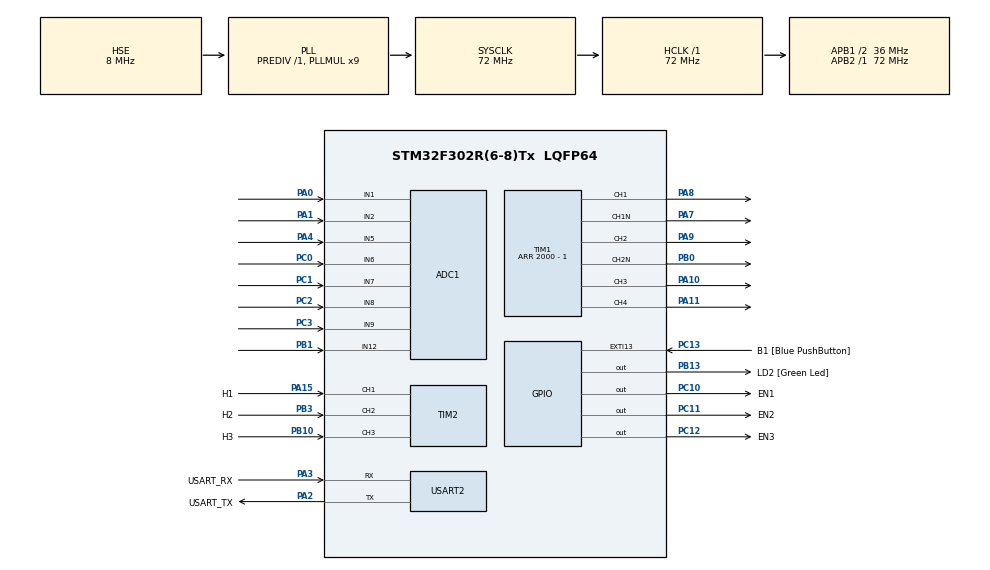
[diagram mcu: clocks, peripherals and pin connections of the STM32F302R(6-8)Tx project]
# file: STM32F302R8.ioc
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ADC1.Channel-0\#ChannelRegularConversion=ADC_CHANNEL_2
ADC1.Channel-4\#ChannelRegularConversion=ADC_CHANNEL_12
ADC1.ContinuousConvMode=ENABLE
ADC1.DMAContinuousRequests=ENABLE
ADC1.ExternalTrigInjecConv=ADC_EXTERNALTRIGINJECCONV_T1_TRGO
ADC1.InjNumberOfConversion=3
ADC1.InjectedChannel-1\#ChannelInjectedConversion=ADC_CHANNEL_1
ADC1.InjectedChannel-2\#ChannelInjectedConversion=ADC_CHANNEL_7
ADC1.InjectedChannel-3\#ChannelInjectedConversion=ADC_CHANNEL_6
ADC1.InjectedOffset-1\#ChannelInjectedConversion=0
ADC1.InjectedOffset-2\#ChannelInjectedConversion=0
ADC1.InjectedOffset-3\#ChannelInjectedConversion=0
ADC1.InjectedOffsetNumber-1\#ChannelInjectedConversion=ADC_OFFSET_NONE
ADC1.InjectedOffsetNumber-2\#ChannelInjectedConversion=ADC_OFFSET_NONE
ADC1.InjectedOffsetNumber-3\#ChannelInjectedConversion=ADC_OFFSET_NONE
ADC1.InjectedRank-1\#ChannelInjectedConversion=1
ADC1.InjectedRank-2\#ChannelInjectedConversion=2
ADC1.InjectedRank-3\#ChannelInjectedConversion=3
ADC1.InjectedSamplingTime-1\#ChannelInjectedConversion=ADC_SAMPLETIME_1CYCLE_5
ADC1.InjectedSamplingTime-2\#ChannelInjectedConversion=ADC_SAMPLETIME_1CYCLE_5
ADC1.InjectedSamplingTime-3\#ChannelInjectedConversion=ADC_SAMPLETIME_1CYCLE_5
ADC1.InjectedSamplingTimeOPAMP-1\#ChannelInjectedConversion=ADC_SAMPLETIME_61CYCLES_5
ADC1.InjectedSamplingTimeOPAMP-2\#ChannelInjectedConversion=ADC_SAMPLETIME_61CYCLES_5
ADC1.InjectedSamplingTimeOPAMP-3\#ChannelInjectedConversion=ADC_SAMPLETIME_61CYCLES_5
ADC1.NbrOfConversion=2
ADC1.NbrOfConversionFlag=1
ADC1.Offset-0\#ChannelRegularConversion=0
ADC1.Offset-4\#ChannelRegularConversion=0
ADC1.OffsetNumber-0\#ChannelRegularConversion=ADC_OFFSET_NONE
ADC1.OffsetNumber-4\#ChannelRegularConversion=ADC_OFFSET_NONE
ADC1.Rank-0\#ChannelRegularConversion=1
ADC1.Rank-4\#ChannelRegularConversion=2
ADC1.Rank2_Channel=ADC_CHANNEL_7
ADC1.Rank3_Channel=ADC_CHANNEL_6
ADC1.SamplingTime-0\#ChannelRegularConversion=ADC_SAMPLETIME_1CYCLE_5
ADC1.SamplingTime-4\#ChannelRegularConversion=ADC_SAMPLETIME_1CYCLE_5
ADC1.SubFamily=STM32F302x8
ADC1.master=1
Dma.ADC1.0.Direction=DMA_PERIPH_TO_MEMORY
Dma.ADC1.0.Instance=DMA1_Channel1
Dma.ADC1.0.MemDataAlignment=DMA_MDATAALIGN_HALFWORD
Dma.ADC1.0.MemInc=DMA_MINC_ENABLE
Dma.ADC1.0.Mode=DMA_CIRCULAR
Dma.ADC1.0.PeriphDataAlignment=DMA_PDATAALIGN_HALFWORD
Dma.ADC1.0.PeriphInc=DMA_PINC_DISABLE
Dma.ADC1.0.Priority=DMA_PRIORITY_LOW
Dma.Request0=ADC1
Mcu.Family=STM32F3
Mcu.Name=STM32F302R(6-8)Tx
Mcu.Package=LQFP64
NVIC.ADC1_IRQn=true\:0\:0\:false\:false\:true\:true\:true\:true
NVIC.DMA1_Channel1_IRQn=true\:0\:1\:false\:false\:true\:false\:true\:true
NVIC.PriorityGroup=NVIC_PRIORITYGROUP_0
NVIC.TIM6_DAC_IRQn=true\:0\:1\:false\:false\:true\:true\:true\:true
PA0.Mode=IN1-Single-Ended
PA0.Signal=ADC1_IN1
PA1.Mode=IN2-Single-Ended
PA1.Signal=ADC1_IN2
PA10.Signal=S_TIM1_CH3
PA11.Signal=S_TIM1_CH4
PA13.GPIO_Label=TMS
PA13.Mode=Serial_Wire
PA13.Signal=SYS_JTMS-SWDIO
PA14.GPIO_Label=TCK
PA14.Mode=Serial_Wire
PA14.Signal=SYS_JTCK-SWCLK
PA15.GPIO_Label=H1
PA15.Signal=S_TIM2_CH1_ETR
PA2.GPIO_Label=USART_TX
PA2.GPIO_Mode=GPIO_MODE_AF_PP
PA2.GPIO_PuPd=GPIO_NOPULL
PA2.GPIO_Speed=GPIO_SPEED_FREQ_LOW
PA2.Mode=Asynchronous
PA2.Signal=USART2_TX
PA3.GPIO_Label=USART_RX
PA3.GPIO_Mode=GPIO_MODE_AF_PP
PA3.GPIO_PuPd=GPIO_NOPULL
PA3.GPIO_Speed=GPIO_SPEED_FREQ_LOW
PA3.Mode=Asynchronous
PA3.Signal=USART2_RX
PA4.Mode=IN5-Single-Ended
PA4.Signal=ADC1_IN5
PA7.Mode=PWM Generation1 CH1 CH1N
PA7.Signal=TIM1_CH1N
PA8.Signal=S_TIM1_CH1
PA9.Signal=S_TIM1_CH2
PB0.Mode=PWM Generation2 CH2 CH2N
PB0.Signal=TIM1_CH2N
PB1.Mode=IN12-Single-Ended
PB1.Signal=ADC1_IN12
PB10.GPIO_Label=H3
PB10.Signal=S_TIM2_CH3
PB13.GPIO_Label=LD2 [Green Led]
PB13.Signal=GPIO_Output
PB3.GPIO_Label=H2
PB3.Signal=S_TIM2_CH2
PC0.Signal=ADCx_IN6
PC1.Signal=ADCx_IN7
PC10.GPIO_Label=EN1
PC10.Signal=GPIO_Output
PC11.GPIO_Label=EN2
PC11.Signal=GPIO_Output
PC12.GPIO_Label=EN3
PC12.Signal=GPIO_Output
PC13.GPIO_Label=B1 [Blue PushButton]
PC13.GPIO_ModeDefaultEXTI=GPIO_MODE_IT_FALLING
PC13.Signal=GPXTI13
PC14\ -\ OSC32_IN.Mode=LSE-External-Oscillator
PC14\ -\ OSC32_IN.Signal=RCC_OSC32_IN
PC15\ -\ OSC32_OUT.Mode=LSE-External-Oscillator
PC15\ -\ OSC32_OUT.Signal=RCC_OSC32_OUT
PC2.Signal=ADCx_IN8
PC3.Signal=ADCx_IN9
PF0-OSC_IN.Mode=HSE-External-Clock-Source
PF0-OSC_IN.Signal=RCC_OSC_IN
PF1-OSC_OUT.Signal=RCC_OSC_OUT
ProjectManager.HeapSize=0x200
ProjectManager.StackSize=0x400
ProjectManager.TargetToolchain=STM32CubeIDE
RCC.AHBFreq_Value=72000000
RCC.APB1CLKDivider=RCC_HCLK_DIV2
RCC.APB1Freq_Value=36000000
RCC.APB1TimFreq_Value=72000000
RCC.APB2Freq_Value=72000000
RCC.APB2TimFreq_Value=72000000
RCC.CortexFreq_Value=72000000
RCC.HCLKFreq_Value=72000000
RCC.HSE_VALUE=8000000
RCC.HSI_VALUE=8000000
RCC.PLLM=8
RCC.PLLMUL=RCC_PLL_MUL9
RCC.PLLN=336
RCC.PLLP=RCC_PLLP_DIV4
RCC.PLLQ=7
RCC.PLLSourceVirtual=RCC_PLLSOURCE_HSE
RCC.SYSCLKFreq_VALUE=72000000
RCC.SYSCLKSourceVirtual=RCC_SYSCLKSOURCE_PLLCLK
RCC.USBFreq_Value=72000000
SH.ADCx_IN6.0=ADC1_IN6,IN6-Single-Ended
SH.ADCx_IN7.0=ADC1_IN7,IN7-Single-Ended
SH.ADCx_IN8.0=ADC1_IN8,IN8-Single-Ended
SH.ADCx_IN9.0=ADC1_IN9,IN9-Single-Ended
SH.S_TIM1_CH1.0=TIM1_CH1,PWM Generation1 CH1 CH1N
SH.S_TIM1_CH2.0=TIM1_CH2,PWM Generation2 CH2 CH2N
SH.S_TIM1_CH3.0=TIM1_CH3,PWM Generation3 CH3
SH.S_TIM1_CH4.0=TIM1_CH4,PWM Generation4 CH4
SH.S_TIM2_CH1_ETR.0=TIM2_CH1,Input_Capture1_from_TI1
SH.S_TIM2_CH2.0=TIM2_CH2,Input_Capture2_from_TI2
SH.S_TIM2_CH3.0=TIM2_CH3,Input_Capture3_from_TI3
TIM1.Channel-PWM\ Generation1\ CH1\ CH1N=TIM_CHANNEL_1
TIM1.Channel-PWM\ Generation2\ CH2\ CH2N=TIM_CHANNEL_2
TIM1.Channel-PWM\ Generation3\ CH3=TIM_CHANNEL_3
TIM1.Channel-PWM\ Generation4\ CH4=TIM_CHANNEL_4
TIM1.CounterMode=TIM_COUNTERMODE_CENTERALIGNED1
TIM1.DeadTime=10
TIM1.OCMode_PWM-PWM\ Generation4\ CH4=TIM_OCMODE_PWM2
TIM1.OCNPolarity_1=TIM_OCNPOLARITY_LOW
TIM1.OCNPolarity_2=TIM_OCNPOLARITY_LOW
TIM1.Period=2000 - 1
TIM1.TIM_MasterOutputTrigger=TIM_TRGO_OC4REF
TIM2.Channel-Input_Capture1_from_TI1=TIM_CHANNEL_1
TIM2.Channel-Input_Capture2_from_TI2=TIM_CHANNEL_2
TIM2.Channel-Input_Capture3_from_TI3=TIM_CHANNEL_3
TIM6.Period=10000
USART2.VirtualMode-Asynchronous=VM_ASYNC
VP_TIM16_VS_ClockSourceINT.Mode=Enable_Timer
VP_TIM6_VS_ClockSourceINT.Mode=Enable_Timer
board=NUCLEO-F302R8

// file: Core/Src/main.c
/* USER CODE BEGIN Header */
/**
  ******************************************************************************
  * @file           : main.c
  * @brief          : Main program body
  ******************************************************************************
  * @attention
  *
  * Copyright (c) 2023 STMicroelectronics.
  * All rights reserved.
  *
  * This software is licensed under terms that can be found in the LICENSE file
  * in the root directory of this software component.
  * If no LICENSE file comes with this software, it is provided AS-IS.
  *
  ******************************************************************************
  */
/* USER CODE END Header */
#include "main.h"

/* USER CODE BEGIN Includes */
#include "SixsStep.h"
#include "SignalReadWrite.h"
#include "GlobalVariables.h"
#include "GlobalConstants.h"

/* USER CODE END Includes */

ADC_HandleTypeDef hadc1;
DMA_HandleTypeDef hdma_adc1;

TIM_HandleTypeDef htim1;
TIM_HandleTypeDef htim2;
TIM_HandleTypeDef htim6;
TIM_HandleTypeDef htim16;

UART_HandleTypeDef huart2;

void SystemClock_Config(void);
static void MX_GPIO_Init(void);
static void MX_DMA_Init(void);
static void MX_USART2_UART_Init(void);
static void MX_ADC1_Init(void);
static void MX_TIM1_Init(void);
static void MX_TIM2_Init(void);
static void MX_TIM6_Init(void);
static void MX_TIM16_Init(void);

int main(void)
{

  /* MCU Configuration--------------------------------------------------------*/

  /* Reset of all peripherals, Initializes the Flash interface and the Systick. */
  HAL_Init();

  /* Configure the system clock */
  SystemClock_Config();

  /* Initialize all configured peripherals */
  MX_GPIO_Init();
  MX_DMA_Init();
  MX_USART2_UART_Init();
  MX_ADC1_Init();
  MX_TIM1_Init();
  MX_TIM2_Init();
  MX_TIM6_Init();
  MX_TIM16_Init();
  /* USER CODE BEGIN 2 */
  HAL_TIM_Base_Start_IT(&htim1);
  HAL_ADCEx_InjectedStart_IT(&hadc1);
  HAL_GPIO_WritePin(EN1_GPIO_Port, EN1_Pin, GPIO_PIN_SET);
  HAL_GPIO_WritePin(EN2_GPIO_Port, EN2_Pin, GPIO_PIN_SET);
  HAL_GPIO_WritePin(EN3_GPIO_Port, EN3_Pin, GPIO_PIN_SET);
  HAL_TIM_PWM_Start(&htim1, TIM_CHANNEL_1);
  HAL_TIMEx_PWMN_Start(&htim1, TIM_CHANNEL_1);
  HAL_TIM_PWM_Start(&htim1, TIM_CHANNEL_2);
  HAL_TIMEx_PWMN_Start(&htim1, TIM_CHANNEL_2);
  HAL_TIM_PWM_Start(&htim1, TIM_CHANNEL_3);
  HAL_TIMEx_PWMN_Start(&htim1, TIM_CHANNEL_3);

  // Set Duty Output Delay to Constant
  // https://digitalservo.jp/blogs/posts/2022/12/stm32-pwm-setting/
  TIM1 -> RCR = 1;
  TIM1 -> EGR  |= TIM_EGR_UG;
  TIM1 -> CNT = TIM1 -> ARR;
  TIM1 -> CR1 &= ~(TIM_CR1_CMS);
  TIM1 -> CR1 |= TIM_CR1_DIR;
  TIM1 -> CR1 |= TIM_CR1_CMS;

  TIM1 -> ARR = COUNTERPERIOD;
  TIM1 -> CCR4 = (TIM1 -> ARR) - 10;//for Carrier Top Interrupt

  // Start TIM2 Input Capture
  HAL_TIM_Base_Start_IT(&htim2);
  HAL_TIM_IC_Start_IT(&htim2, TIM_CHANNEL_1);
  HAL_TIM_IC_Start_IT(&htim2, TIM_CHANNEL_2);
  HAL_TIM_IC_Start_IT(&htim2, TIM_CHANNEL_3);

  // Start TIM6 for Low Frequency Interrupt
  HAL_TIM_Base_Start_IT(&htim6);
  TIM6 -> ARR = COUNTERPERIODLOWSEQUENCE;

  // Start TIM16 for Freerun Counter
  HAL_TIM_Base_Start_IT(&htim16);

  // Start DMA (This function needs to be called after Starting TIM1 & TIM2)
  HAL_ADC_Start_DMA(&hadc1, (uint32_t*)gAdcValue, 2);
  /* USER CODE END 2 */

  /* Infinite loop */
  while (1)
  {

  }
}

void SystemClock_Config(void)
{
  RCC_OscInitTypeDef RCC_OscInitStruct = {0};
  RCC_ClkInitTypeDef RCC_ClkInitStruct = {0};
  RCC_PeriphCLKInitTypeDef PeriphClkInit = {0};

  /** Initializes the RCC Oscillators according to the specified parameters
  * in the RCC_OscInitTypeDef structure.
  */
  RCC_OscInitStruct.OscillatorType = RCC_OSCILLATORTYPE_HSE;
  RCC_OscInitStruct.HSEState = RCC_HSE_BYPASS;
  RCC_OscInitStruct.HSEPredivValue = RCC_HSE_PREDIV_DIV1;
  RCC_OscInitStruct.HSIState = RCC_HSI_ON;
  RCC_OscInitStruct.PLL.PLLState = RCC_PLL_ON;
  RCC_OscInitStruct.PLL.PLLSource = RCC_PLLSOURCE_HSE;
  RCC_OscInitStruct.PLL.PLLMUL = RCC_PLL_MUL9;
  if (HAL_RCC_OscConfig(&RCC_OscInitStruct) != HAL_OK)
  {
    Error_Handler();
  }

  /** Initializes the CPU, AHB and APB buses clocks
  */
  RCC_ClkInitStruct.ClockType = RCC_CLOCKTYPE_HCLK|RCC_CLOCKTYPE_SYSCLK
                              |RCC_CLOCKTYPE_PCLK1|RCC_CLOCKTYPE_PCLK2;
  RCC_ClkInitStruct.SYSCLKSource = RCC_SYSCLKSOURCE_PLLCLK;
  RCC_ClkInitStruct.AHBCLKDivider = RCC_SYSCLK_DIV1;
  RCC_ClkInitStruct.APB1CLKDivider = RCC_HCLK_DIV2;
  RCC_ClkInitStruct.APB2CLKDivider = RCC_HCLK_DIV1;

  if (HAL_RCC_ClockConfig(&RCC_ClkInitStruct, FLASH_LATENCY_2) != HAL_OK)
  {
    Error_Handler();
  }
  PeriphClkInit.PeriphClockSelection = RCC_PERIPHCLK_TIM1|RCC_PERIPHCLK_TIM16
                              |RCC_PERIPHCLK_ADC1;
  PeriphClkInit.Tim1ClockSelection = RCC_TIM1CLK_HCLK;
  PeriphClkInit.Tim16ClockSelection = RCC_TIM16CLK_HCLK;
  PeriphClkInit.Adc1ClockSelection = RCC_ADC1PLLCLK_DIV1;

  if (HAL_RCCEx_PeriphCLKConfig(&PeriphClkInit) != HAL_OK)
  {
    Error_Handler();
  }
}

static void MX_ADC1_Init(void)
{

  ADC_ChannelConfTypeDef sConfig = {0};
  ADC_InjectionConfTypeDef sConfigInjected = {0};

  /** Common config
  */
  hadc1.Instance = ADC1;
  hadc1.Init.ClockPrescaler = ADC_CLOCK_ASYNC_DIV1;
  hadc1.Init.Resolution = ADC_RESOLUTION_12B;
  hadc1.Init.ScanConvMode = ADC_SCAN_ENABLE;
  hadc1.Init.ContinuousConvMode = ENABLE;
  hadc1.Init.DiscontinuousConvMode = DISABLE;
  hadc1.Init.ExternalTrigConvEdge = ADC_EXTERNALTRIGCONVEDGE_NONE;
  hadc1.Init.ExternalTrigConv = ADC_SOFTWARE_START;
  hadc1.Init.DataAlign = ADC_DATAALIGN_RIGHT;
  hadc1.Init.NbrOfConversion = 2;
  hadc1.Init.DMAContinuousRequests = ENABLE;
  hadc1.Init.EOCSelection = ADC_EOC_SINGLE_CONV;
  hadc1.Init.LowPowerAutoWait = DISABLE;
  hadc1.Init.Overrun = ADC_OVR_DATA_OVERWRITTEN;
  if (HAL_ADC_Init(&hadc1) != HAL_OK)
  {
    Error_Handler();
  }

  /** Configure Regular Channel
  */
  sConfig.Channel = ADC_CHANNEL_2;
  sConfig.Rank = ADC_REGULAR_RANK_1;
  sConfig.SingleDiff = ADC_SINGLE_ENDED;
  sConfig.SamplingTime = ADC_SAMPLETIME_1CYCLE_5;
  sConfig.OffsetNumber = ADC_OFFSET_NONE;
  sConfig.Offset = 0;
  if (HAL_ADC_ConfigChannel(&hadc1, &sConfig) != HAL_OK)
  {
    Error_Handler();
  }

  /** Configure Regular Channel
  */
  sConfig.Channel = ADC_CHANNEL_12;
  sConfig.Rank = ADC_REGULAR_RANK_2;
  if (HAL_ADC_ConfigChannel(&hadc1, &sConfig) != HAL_OK)
  {
    Error_Handler();
  }

  /** Configure Injected Channel
  */
  sConfigInjected.InjectedChannel = ADC_CHANNEL_1;
  sConfigInjected.InjectedRank = ADC_INJECTED_RANK_1;
  sConfigInjected.InjectedSingleDiff = ADC_SINGLE_ENDED;
  sConfigInjected.InjectedNbrOfConversion = 3;
  sConfigInjected.InjectedSamplingTime = ADC_SAMPLETIME_1CYCLE_5;
  sConfigInjected.ExternalTrigInjecConvEdge = ADC_EXTERNALTRIGINJECCONV_EDGE_RISING;
  sConfigInjected.ExternalTrigInjecConv = ADC_EXTERNALTRIGINJECCONV_T1_TRGO;
  sConfigInjected.AutoInjectedConv = DISABLE;
  sConfigInjected.InjectedDiscontinuousConvMode = DISABLE;
  sConfigInjected.QueueInjectedContext = DISABLE;
  sConfigInjected.InjectedOffset = 0;
  sConfigInjected.InjectedOffsetNumber = ADC_OFFSET_NONE;
  if (HAL_ADCEx_InjectedConfigChannel(&hadc1, &sConfigInjected) != HAL_OK)
  {
    Error_Handler();
  }

  /** Configure Injected Channel
  */
  sConfigInjected.InjectedChannel = ADC_CHANNEL_7;
  sConfigInjected.InjectedRank = ADC_INJECTED_RANK_2;
  if (HAL_ADCEx_InjectedConfigChannel(&hadc1, &sConfigInjected) != HAL_OK)
  {
    Error_Handler();
  }

  /** Configure Injected Channel
  */
  sConfigInjected.InjectedChannel = ADC_CHANNEL_6;
  sConfigInjected.InjectedRank = ADC_INJECTED_RANK_3;
  if (HAL_ADCEx_InjectedConfigChannel(&hadc1, &sConfigInjected) != HAL_OK)
  {
    Error_Handler();
  }

}

static void MX_TIM1_Init(void)
{

  TIM_MasterConfigTypeDef sMasterConfig = {0};
  TIM_OC_InitTypeDef sConfigOC = {0};
  TIM_BreakDeadTimeConfigTypeDef sBreakDeadTimeConfig = {0};

  htim1.Instance = TIM1;
  htim1.Init.Prescaler = 0;
  htim1.Init.CounterMode = TIM_COUNTERMODE_CENTERALIGNED1;
  htim1.Init.Period = 2000 - 1;
  htim1.Init.ClockDivision = TIM_CLOCKDIVISION_DIV1;
  htim1.Init.RepetitionCounter = 0;
  htim1.Init.AutoReloadPreload = TIM_AUTORELOAD_PRELOAD_DISABLE;
  if (HAL_TIM_PWM_Init(&htim1) != HAL_OK)
  {
    Error_Handler();
  }
  sMasterConfig.MasterOutputTrigger = TIM_TRGO_OC4REF;
  sMasterConfig.MasterOutputTrigger2 = TIM_TRGO2_RESET;
  sMasterConfig.MasterSlaveMode = TIM_MASTERSLAVEMODE_DISABLE;
  if (HAL_TIMEx_MasterConfigSynchronization(&htim1, &sMasterConfig) != HAL_OK)
  {
    Error_Handler();
  }
  sConfigOC.OCMode = TIM_OCMODE_PWM1;
  sConfigOC.Pulse = 0;
  sConfigOC.OCPolarity = TIM_OCPOLARITY_HIGH;
  sConfigOC.OCNPolarity = TIM_OCNPOLARITY_LOW;
  sConfigOC.OCFastMode = TIM_OCFAST_DISABLE;
  sConfigOC.OCIdleState = TIM_OCIDLESTATE_RESET;
  sConfigOC.OCNIdleState = TIM_OCNIDLESTATE_RESET;
  if (HAL_TIM_PWM_ConfigChannel(&htim1, &sConfigOC, TIM_CHANNEL_1) != HAL_OK)
  {
    Error_Handler();
  }
  if (HAL_TIM_PWM_ConfigChannel(&htim1, &sConfigOC, TIM_CHANNEL_2) != HAL_OK)
  {
    Error_Handler();
  }
  sConfigOC.OCNPolarity = TIM_OCNPOLARITY_HIGH;
  if (HAL_TIM_PWM_ConfigChannel(&htim1, &sConfigOC, TIM_CHANNEL_3) != HAL_OK)
  {
    Error_Handler();
  }
  sConfigOC.OCMode = TIM_OCMODE_PWM2;
  if (HAL_TIM_PWM_ConfigChannel(&htim1, &sConfigOC, TIM_CHANNEL_4) != HAL_OK)
  {
    Error_Handler();
  }
  sBreakDeadTimeConfig.OffStateRunMode = TIM_OSSR_DISABLE;
  sBreakDeadTimeConfig.OffStateIDLEMode = TIM_OSSI_DISABLE;
  sBreakDeadTimeConfig.LockLevel = TIM_LOCKLEVEL_OFF;
  sBreakDeadTimeConfig.DeadTime = 10;
  sBreakDeadTimeConfig.BreakState = TIM_BREAK_DISABLE;
  sBreakDeadTimeConfig.BreakPolarity = TIM_BREAKPOLARITY_HIGH;
  sBreakDeadTimeConfig.BreakFilter = 0;
  sBreakDeadTimeConfig.Break2State = TIM_BREAK2_DISABLE;
  sBreakDeadTimeConfig.Break2Polarity = TIM_BREAK2POLARITY_HIGH;
  sBreakDeadTimeConfig.Break2Filter = 0;
  sBreakDeadTimeConfig.AutomaticOutput = TIM_AUTOMATICOUTPUT_DISABLE;
  if (HAL_TIMEx_ConfigBreakDeadTime(&htim1, &sBreakDeadTimeConfig) != HAL_OK)
  {
    Error_Handler();
  }
  HAL_TIM_MspPostInit(&htim1);

}

static void MX_TIM2_Init(void)
{

  TIM_MasterConfigTypeDef sMasterConfig = {0};
  TIM_IC_InitTypeDef sConfigIC = {0};

  htim2.Instance = TIM2;
  htim2.Init.Prescaler = 0;
  htim2.Init.CounterMode = TIM_COUNTERMODE_UP;
  htim2.Init.Period = 4294967295;
  htim2.Init.ClockDivision = TIM_CLOCKDIVISION_DIV1;
  htim2.Init.AutoReloadPreload = TIM_AUTORELOAD_PRELOAD_DISABLE;
  if (HAL_TIM_IC_Init(&htim2) != HAL_OK)
  {
    Error_Handler();
  }
  sMasterConfig.MasterOutputTrigger = TIM_TRGO_RESET;
  sMasterConfig.MasterSlaveMode = TIM_MASTERSLAVEMODE_DISABLE;
  if (HAL_TIMEx_MasterConfigSynchronization(&htim2, &sMasterConfig) != HAL_OK)
  {
    Error_Handler();
  }
  sConfigIC.ICPolarity = TIM_INPUTCHANNELPOLARITY_RISING;
  sConfigIC.ICSelection = TIM_ICSELECTION_DIRECTTI;
  sConfigIC.ICPrescaler = TIM_ICPSC_DIV1;
  sConfigIC.ICFilter = 0;
  if (HAL_TIM_IC_ConfigChannel(&htim2, &sConfigIC, TIM_CHANNEL_1) != HAL_OK)
  {
    Error_Handler();
  }
  if (HAL_TIM_IC_ConfigChannel(&htim2, &sConfigIC, TIM_CHANNEL_2) != HAL_OK)
  {
    Error_Handler();
  }
  if (HAL_TIM_IC_ConfigChannel(&htim2, &sConfigIC, TIM_CHANNEL_3) != HAL_OK)
  {
    Error_Handler();
  }

}

static void MX_TIM6_Init(void)
{

  TIM_MasterConfigTypeDef sMasterConfig = {0};

  htim6.Instance = TIM6;
  htim6.Init.Prescaler = 0;
  htim6.Init.CounterMode = TIM_COUNTERMODE_UP;
  htim6.Init.Period = 10000;
  htim6.Init.AutoReloadPreload = TIM_AUTORELOAD_PRELOAD_DISABLE;
  if (HAL_TIM_Base_Init(&htim6) != HAL_OK)
  {
    Error_Handler();
  }
  sMasterConfig.MasterOutputTrigger = TIM_TRGO_RESET;
  sMasterConfig.MasterSlaveMode = TIM_MASTERSLAVEMODE_DISABLE;
  if (HAL_TIMEx_MasterConfigSynchronization(&htim6, &sMasterConfig) != HAL_OK)
  {
    Error_Handler();
  }

}

static void MX_TIM16_Init(void)
{

  htim16.Instance = TIM16;
  htim16.Init.Prescaler = 0;
  htim16.Init.CounterMode = TIM_COUNTERMODE_UP;
  htim16.Init.Period = 65535;
  htim16.Init.ClockDivision = TIM_CLOCKDIVISION_DIV1;
  htim16.Init.RepetitionCounter = 0;
  htim16.Init.AutoReloadPreload = TIM_AUTORELOAD_PRELOAD_DISABLE;
  if (HAL_TIM_Base_Init(&htim16) != HAL_OK)
  {
    Error_Handler();
  }

}

static void MX_USART2_UART_Init(void)
{

  huart2.Instance = USART2;
  huart2.Init.BaudRate = 38400;
  huart2.Init.WordLength = UART_WORDLENGTH_8B;
  huart2.Init.StopBits = UART_STOPBITS_1;
  huart2.Init.Parity = UART_PARITY_NONE;
  huart2.Init.Mode = UART_MODE_TX_RX;
  huart2.Init.HwFlowCtl = UART_HWCONTROL_NONE;
  huart2.Init.OverSampling = UART_OVERSAMPLING_16;
  huart2.Init.OneBitSampling = UART_ONE_BIT_SAMPLE_DISABLE;
  huart2.AdvancedInit.AdvFeatureInit = UART_ADVFEATURE_NO_INIT;
  if (HAL_UART_Init(&huart2) != HAL_OK)
  {
    Error_Handler();
  }

}

static void MX_DMA_Init(void)
{

  /* DMA controller clock enable */
  __HAL_RCC_DMA1_CLK_ENABLE();

  /* DMA interrupt init */
  /* DMA1_Channel1_IRQn interrupt configuration */
  HAL_NVIC_SetPriority(DMA1_Channel1_IRQn, 0, 1);
  HAL_NVIC_EnableIRQ(DMA1_Channel1_IRQn);

}

static void MX_GPIO_Init(void)
{
  GPIO_InitTypeDef GPIO_InitStruct = {0};

  /* GPIO Ports Clock Enable */
  __HAL_RCC_GPIOC_CLK_ENABLE();
  __HAL_RCC_GPIOF_CLK_ENABLE();
  __HAL_RCC_GPIOA_CLK_ENABLE();
  __HAL_RCC_GPIOB_CLK_ENABLE();

  /*Configure GPIO pin Output Level */
  HAL_GPIO_WritePin(LD2_GPIO_Port, LD2_Pin, GPIO_PIN_RESET);

  /*Configure GPIO pin Output Level */
  HAL_GPIO_WritePin(GPIOC, EN1_Pin|EN2_Pin|EN3_Pin, GPIO_PIN_RESET);

  /*Configure GPIO pin : B1_Pin */
  GPIO_InitStruct.Pin = B1_Pin;
  GPIO_InitStruct.Mode = GPIO_MODE_IT_FALLING;
  GPIO_InitStruct.Pull = GPIO_NOPULL;
  HAL_GPIO_Init(B1_GPIO_Port, &GPIO_InitStruct);

  /*Configure GPIO pin : LD2_Pin */
  GPIO_InitStruct.Pin = LD2_Pin;
  GPIO_InitStruct.Mode = GPIO_MODE_OUTPUT_PP;
  GPIO_InitStruct.Pull = GPIO_NOPULL;
  GPIO_InitStruct.Speed = GPIO_SPEED_FREQ_LOW;
  HAL_GPIO_Init(LD2_GPIO_Port, &GPIO_InitStruct);

  /*Configure GPIO pins : EN1_Pin EN2_Pin EN3_Pin */
  GPIO_InitStruct.Pin = EN1_Pin|EN2_Pin|EN3_Pin;
  GPIO_InitStruct.Mode = GPIO_MODE_OUTPUT_PP;
  GPIO_InitStruct.Pull = GPIO_NOPULL;
  GPIO_InitStruct.Speed = GPIO_SPEED_FREQ_LOW;
  HAL_GPIO_Init(GPIOC, &GPIO_InitStruct);

}

void Error_Handler(void)
{
  __disable_irq();
  while (1)
  {
  }
}
